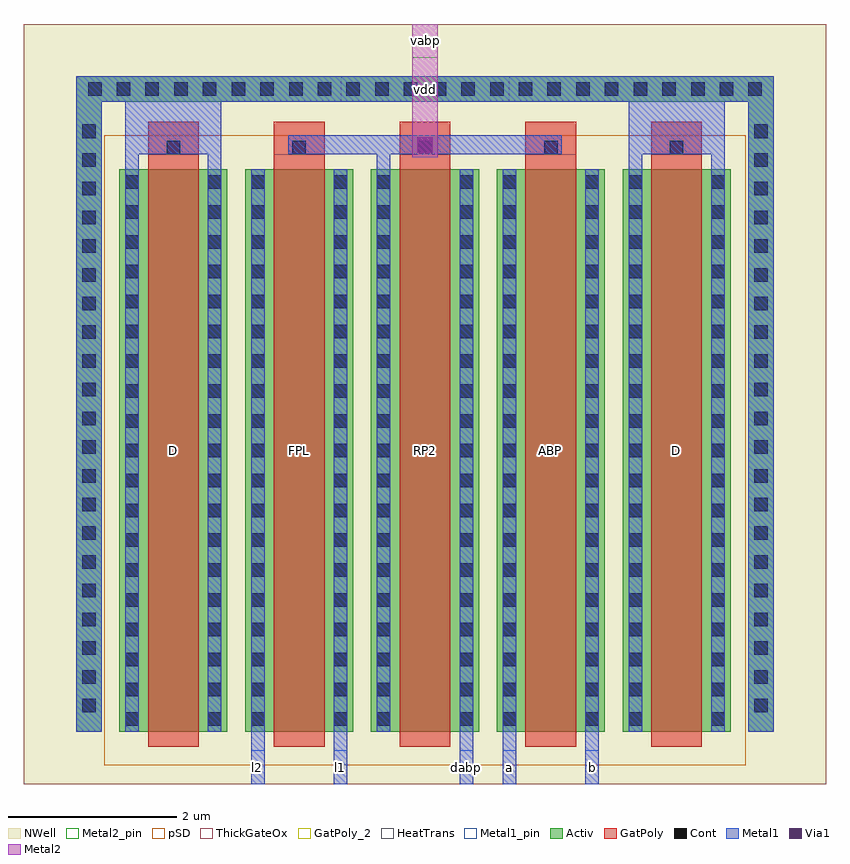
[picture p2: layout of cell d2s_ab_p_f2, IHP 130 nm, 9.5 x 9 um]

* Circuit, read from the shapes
.subckt d2s_ab_p_f2 a b dabp l1 l2 vabp vdd
XM1 vdd vdd vdd vdd sg13_hv_pmos w=6.66u l=0.6u m=2
XM2 l1 vabp l2 vdd sg13_hv_pmos w=6.66u l=0.6u
XM3 dabp vabp vabp vdd sg13_hv_pmos w=6.66u l=0.6u
XM4 b vabp a vdd sg13_hv_pmos w=6.66u l=0.6u
.ends

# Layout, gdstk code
from math import pi, radians
import gdstk
lib = gdstk.Library(unit=1e-6, precision=1e-09)
def R(c, l, rs):  # rectangles x0, y0, x1, y1
    for r in rs: c.add(gdstk.rectangle(r[:2], r[2:], *l))
def A(c, l, x, y, w, h, nx, ny, dx, dy):  # array of equal rectangles
    R(c, l, [(x+i*dx, y+j*dy, x+i*dx+w, y+j*dy+h) for i in range(nx) for j in range(ny)])
Activ = (1, 0)
GatPoly = (5, 0)
GatPoly_2 = (5, 2)
Cont = (6, 0)
Metal1 = (8, 0)
Metal1_pin = (8, 2)
Metal2 = (10, 0)
Metal2_pin = (10, 2)
pSD = (14, 0)
Via1 = (19, 0)
NWell = (31, 0)
ThickGateOx = (44, 0)
HeatTrans = (51, 0)

pmoshv_w6p66_l0p6 = lib.new_cell('pmosHV_w6p66_l0p6')
R(pmoshv_w6p66_l0p6, Activ, [(0,0,0.3,0.3), (0,0,1.28,6.66), (0.98,0,1.28,0.3)])
R(pmoshv_w6p66_l0p6, GatPoly, [(0.34,-0.18,0.94,6.84)])
R(pmoshv_w6p66_l0p6, GatPoly_2, [(0.34,-0.18,0.94,6.84)])
A(pmoshv_w6p66_l0p6, Cont, 0.07, 0.42, 0.16, 0.16, 1, 3, 0, 0.355)
A(pmoshv_w6p66_l0p6, Cont, 1.05, 0.42, 0.16, 0.16, 1, 3, 0, 0.355)
A(pmoshv_w6p66_l0p6, Cont, 0.07, 1.48, 0.16, 0.16, 1, 3, 0, 0.355)
A(pmoshv_w6p66_l0p6, Cont, 1.05, 1.48, 0.16, 0.16, 1, 3, 0, 0.355)
A(pmoshv_w6p66_l0p6, Cont, 0.07, 2.54, 0.16, 0.16, 1, 3, 0, 0.355)
A(pmoshv_w6p66_l0p6, Cont, 1.05, 2.54, 0.16, 0.16, 1, 3, 0, 0.355)
A(pmoshv_w6p66_l0p6, Cont, 0.07, 3.6, 0.16, 0.16, 1, 3, 0, 0.355)
A(pmoshv_w6p66_l0p6, Cont, 1.05, 3.6, 0.16, 0.16, 1, 3, 0, 0.355)
A(pmoshv_w6p66_l0p6, Cont, 0.07, 4.66, 0.16, 0.16, 1, 3, 0, 0.355)
A(pmoshv_w6p66_l0p6, Cont, 1.05, 4.66, 0.16, 0.16, 1, 3, 0, 0.355)
A(pmoshv_w6p66_l0p6, Cont, 0.07, 5.72, 0.16, 0.16, 1, 3, 0, 0.355)
A(pmoshv_w6p66_l0p6, Cont, 1.05, 5.72, 0.16, 0.16, 1, 3, 0, 0.355)
R(pmoshv_w6p66_l0p6, Cont, [(0.07,0.07,0.23,0.23), (1.05,0.07,1.21,0.23)])
R(pmoshv_w6p66_l0p6, Metal1, [(0.07,0,0.23,6.66), (1.05,0,1.21,6.66)])
R(pmoshv_w6p66_l0p6, Metal1_pin, [(0.07,0,0.23,6.66), (1.05,0,1.21,6.66)])
R(pmoshv_w6p66_l0p6, pSD, [(-0.18,-0.4,1.46,7.06)])
R(pmoshv_w6p66_l0p6, NWell, [(-0.62,-0.62,1.9,7.28)])
R(pmoshv_w6p66_l0p6, ThickGateOx, [(-0.62,-0.62,1.9,7.28)])
R(pmoshv_w6p66_l0p6, HeatTrans, [(0.34,-0.18,0.94,6.84)])
pmoshv_w6p66_l0p6.add(gdstk.Label('pmosHV', (0.64,3.33), layer=63, texttype=0))
pmoshv_w6p66_l0p6.add(gdstk.Label('pmos', (0.64,3.33), layer=51, texttype=0))

d2s_ab_p_f2 = lib.new_cell('d2s_ab_p_f2')
R(d2s_ab_p_f2, Activ, [(0.62,0.62,0.92,8.08), (8.58,0.62,8.88,8.08), (0.62,8.08,8.88,8.38)])
A(d2s_ab_p_f2, GatPoly, 1.47, 7.28, 0.6, 0.56, 5, 1, 1.49, 0)
A(d2s_ab_p_f2, Cont, 0.69, 0.85, 0.16, 0.16, 1, 21, 0, 0.34)
A(d2s_ab_p_f2, Cont, 8.65, 0.85, 0.16, 0.16, 1, 21, 0, 0.34)
A(d2s_ab_p_f2, Cont, 1.69, 7.46, 0.16, 0.16, 5, 1, 1.49, 0)
A(d2s_ab_p_f2, Cont, 0.76, 8.15, 0.16, 0.16, 24, 1, 0.34, 0)
R(d2s_ab_p_f2, Metal1, [(2.69,0,2.85,0.62), (3.67,0,3.83,0.62), (5.16,0,5.32,0.62), (5.67,0,5.83,0.62), (6.65,0,6.81,0.62), (0.62,0.62,0.92,8.08), (8.58,0.62,8.88,8.08), (1.2,7.28,1.36,8.08), (2.18,7.28,2.34,8.08), (4.18,7.28,4.34,7.46), (7.16,7.28,7.32,8.08), (8.14,7.28,8.3,8.08), (1.2,7.46,2.34,8.38), (3.13,7.46,6.37,7.68), (7.16,7.46,8.3,8.38), (0.62,8.08,8.88,8.38)])
R(d2s_ab_p_f2, Metal1_pin, [(2.69,0,2.85,0.4), (3.67,0,3.83,0.4), (5.16,0,5.32,0.4), (5.67,0,5.83,0.4), (6.65,0,6.81,0.4), (3.75,8.08,5.75,8.38)])
R(d2s_ab_p_f2, Metal2, [(4.6,7.42,4.9,9)])
R(d2s_ab_p_f2, Metal2_pin, [(4.6,8.6,4.9,9)])
R(d2s_ab_p_f2, Via1, [(4.655,7.475,4.845,7.665)])
R(d2s_ab_p_f2, NWell, [(0,0,9.5,9)])
R(d2s_ab_p_f2, ThickGateOx, [(0,0,9.5,9)])
d2s_ab_p_f2.add(gdstk.Reference(pmoshv_w6p66_l0p6, (1.13,0.62)))
d2s_ab_p_f2.add(gdstk.Reference(pmoshv_w6p66_l0p6, (2.62,0.62)))
d2s_ab_p_f2.add(gdstk.Reference(pmoshv_w6p66_l0p6, (4.11,0.62)))
d2s_ab_p_f2.add(gdstk.Reference(pmoshv_w6p66_l0p6, (6.88,0.62), rotation=pi, x_reflection=True))
d2s_ab_p_f2.add(gdstk.Reference(pmoshv_w6p66_l0p6, (8.37,0.62), rotation=pi, x_reflection=True))
d2s_ab_p_f2.add(gdstk.Label('l1', (3.75,0.2), layer=8, texttype=25))
d2s_ab_p_f2.add(gdstk.Label('l2', (2.77,0.2), layer=8, texttype=25))
d2s_ab_p_f2.add(gdstk.Label('dabp', (5.24,0.2), layer=8, texttype=25))
d2s_ab_p_f2.add(gdstk.Label('b', (6.73,0.2), layer=8, texttype=25))
d2s_ab_p_f2.add(gdstk.Label('a', (5.75,0.2), layer=8, texttype=25))
d2s_ab_p_f2.add(gdstk.Label('vdd', (4.75,8.23), layer=8, texttype=25))
d2s_ab_p_f2.add(gdstk.Label('vabp', (4.75,8.8), layer=10, texttype=25))
d2s_ab_p_f2.add(gdstk.Label('D', (1.77,3.95), layer=63, texttype=0))
d2s_ab_p_f2.add(gdstk.Label('FPL', (3.26,3.95), layer=63, texttype=0))
d2s_ab_p_f2.add(gdstk.Label('RP2', (4.75,3.95), layer=63, texttype=0))
d2s_ab_p_f2.add(gdstk.Label('ABP', (6.24,3.95), layer=63, texttype=0))
d2s_ab_p_f2.add(gdstk.Label('D', (7.73,3.95), layer=63, texttype=0))

lib.write_gds('d2s_ab_p_f2.gds')
